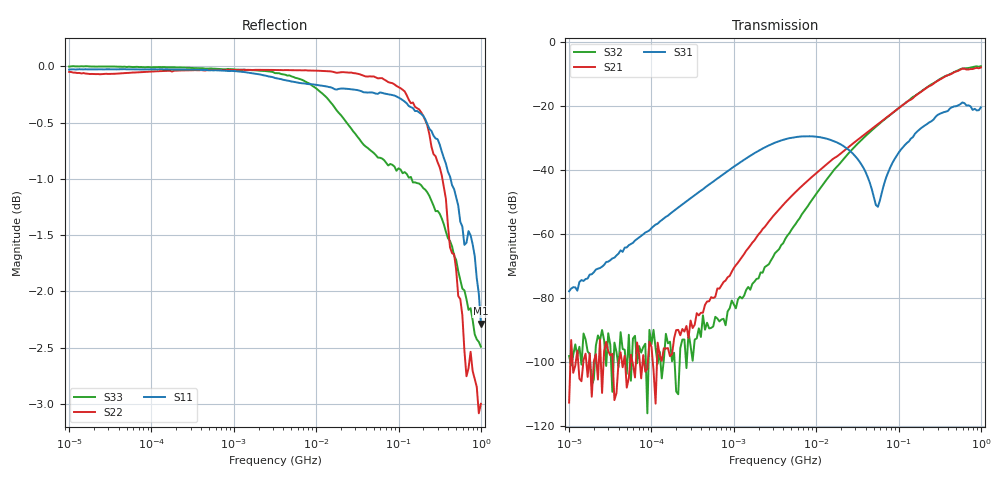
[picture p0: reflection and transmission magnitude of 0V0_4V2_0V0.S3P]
!Keysight Technologies,E5080A,MY55100144,A.11.70.03
!Date: Monday, November 13, 2017 17:25:11
!Correction: S11(Full 3 Port(1,2,3))
!S12(Full 3 Port(1,2,3))
!S13(Full 3 Port(1,2,3))
!S21(Full 3 Port(1,2,3))
!S22(Full 3 Port(1,2,3))
!S23(Full 3 Port(1,2,3))
!S31(Full 3 Port(1,2,3))
!S32(Full 3 Port(1,2,3))
!S33(Full 3 Port(1,2,3))
!S3P File: Measurements: <S11,S12,S13>,
!<S21,S22,S23>,
!<S31,S32,S33>:Log Frequency Sweep
# Hz S  RI  R 50
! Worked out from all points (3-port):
!   201 points, 10 kHz to 1 GHz, reference 50 ohm
!   strongest paths, dB at 10 kHz, 177.8 kHz, 3.162 MHz, 56.23 MHz, 1 GHz:
!     S31: -78.0, -53.3, -31.5, -51.6, -20.5
!     S21: -112.8, -97.6, -53.8, -25.7, -8.0
!     S32: -98.2, -99.9, -66.0, -26.0, -7.6
!   lowest |S11| = -2.3 dB at 1 GHz (marker M1), VSWR 7.64, Z = 382 + j0.194 ohm
!   |S11| at or under -10 dB: nowhere
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10000  0.9967 -0.0057  6.09e-06 -3.99e-06  1.74e-05 0.00013
       1.97e-06 -1.2e-06  0.4708 -0.8758  -8.9e-06 -4.05e-06
       1.74e-05 0.000125  -1.22e-05 -1.48e-06  0.9997 -0.00238
50118.72  0.9965 -0.0289  1.91e-05 9.77e-06  2e-05 0.000609
          3.43e-06 1.96e-06  -0.7914 -0.6001  1.81e-06 6.98e-06
          1.81e-05 0.000613  3.66e-06 5.35e-06  0.9993 -0.00567
562341.3  0.9451 -0.314  -0.00011 6.76e-05  0.00147 0.00637
          -8.25e-05 5.52e-05  -0.9947 -0.0576  -1.24e-05 4.36e-05
          0.00145 0.00638  -9.29e-06 3.44e-05  0.9961 -0.0543
3162278  0.0901 -0.984  -0.0013 0.00154  0.0207 0.0166
         -0.0013 0.00157  -0.9962 0.00468  -0.000408 0.000255
         0.0209 0.0165  -0.000431 0.000252  0.9501 -0.2891
2.113489e7  -0.945 -0.2503  -0.00109 0.0192  0.0191 -0.0143
            -0.00108 0.0193  -0.9893 0.0979  -0.00849 0.0116
            0.019 -0.0143  -0.00849 0.0116  -0.0182 -0.9486
5.623413e7  -0.9705 0.0586  0.00904 0.051  0.00253 0.000881
            0.00914 0.0511  -0.9533 0.2586  -0.00515 0.05
            0.0025 0.000859  -0.00522 0.05  -0.7609 -0.5006
1.059254e8  -0.9325 0.2576  0.0377 0.0894  0.00782 0.0189
            0.0378 0.0894  -0.8606 0.4643  0.0232 0.0945
            0.00789 0.0189  0.0231 0.0945  -0.8951 -0.091
3.758374e8  -0.3689 0.8266  0.2899 0.0331  0.0809 -0.0059
            0.2901 0.0331  0.0973 0.8679  0.2897 0.0579
            0.0809 -0.00587  0.2893 0.0578  -0.487 0.6899
7.079458e8  0.4637 0.7062  0.1989 -0.3126  0.012 -0.1015
            0.1987 -0.313  0.6986 0.2261  0.2462 -0.3031
            0.0121 -0.1014  0.2465 -0.3029  0.2566 0.736
1e9  0.7686 0.000104  -0.1001 -0.3849  -0.0568 -0.0756
     -0.1007 -0.3851  0.5907 -0.3904  -0.0457 -0.4146
     -0.0568 -0.0756  -0.0454 -0.4146  0.6825 0.3123
